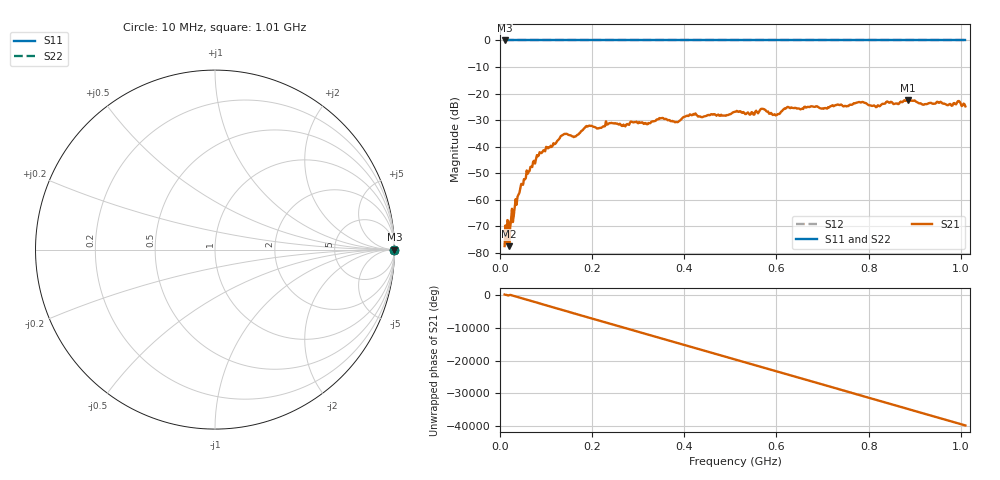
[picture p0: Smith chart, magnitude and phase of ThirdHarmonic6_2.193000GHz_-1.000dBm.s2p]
! 8/17/2025 2:08:52 AM
! C:\ANRITSUVNA\TEMP\TEMP.S2P
! CHANNEL.1
! TR.MEASUREMENT
! RAW.DATA
! RF.CORRECTION.OFF
! AVERAGING.OFF
! IF.BANDWIDTH: 5KHZ
! SWEEPTYPE:  FREQ.SWEEP(Linear)
! Reference Plane Port Info
! PORT:  PORT1  PORT2
! DISTANCE:  0  m  0  m
! TIME:  0  s  0  s
! PHASE.OFFSET:  0  deg.  0  deg.
! LOSS:  0  dB  0  dB
! REF.LOSS:  0  dB  0  dB
! REF.FREQ:  0  Hz  0  Hz
! Power Info
! POWER:  -20  dBm  -20  dBm
! EFF.POWER:  -20  dBm  -20  dBm
! SOURCE.ATTEN:  0  dB  0  dB
! TEST.ATTEN:  0  dB  0  dB
# GHZ S RI R 50.0
! FREQ.GHZ  S11RE  S11IM  S21RE  S21IM  S12RE  S12IM  S22RE  S22IM
!; PortSelection: Port_12
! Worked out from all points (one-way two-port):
!   501 points, 10 MHz to 1.01 GHz, reference 50 ohm
!   highest |S21| = -22.44 dB at 886 MHz (marker M1); lowest = -77.5 dB at 20 MHz (marker M2)
!   lowest |S11| = 0.0 dB at 10 MHz (marker M3)
!   |S11| at or under -10 dB: nowhere
!   |S22| runs from 0.0 to 0.0 dB; largest |S21 - S12| = 1.1
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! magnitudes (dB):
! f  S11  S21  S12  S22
! 10 MHz  0.0  -77.5  0.0  0.0
! 14 MHz  0.0  -76.3  0.0  0.0
! 20 MHz  0.0  -77.5  0.0  0.0
! 24 MHz  0.0  -67.4  0.0  0.0
! 30 MHz  0.0  -65.8  0.0  0.0
! 48 MHz  0.0  -54.2  0.0  0.0
! 84 MHz  0.0  -43.4  0.0  0.0
! 136 MHz  0.0  -35.6  0.0  0.0
! 162 MHz  0.0  -36.2  0.0  0.0
! 178 MHz  0.0  -34.0  0.0  0.0
! 344 MHz  0.0  -29.7  0.0  0.0
! 384 MHz  0.0  -30.8  0.0  0.0
! 416 MHz  0.0  -28.2  0.0  0.0
! 510 MHz  0.0  -26.9  0.0  0.0
! 548 MHz  0.0  -27.2  0.0  0.0
! 570 MHz  0.0  -25.7  0.0  0.0
! 596 MHz  0.0  -27.8  0.0  0.0
! 622 MHz  0.0  -25.3  0.0  0.0
! 678 MHz  0.0  -24.9  0.0  0.0
! 844 MHz  0.0  -23.4  0.0  0.0
! 886 MHz  0.0  -22.4  0.0  0.0
! 1.01 GHz  0.0  -24.9  0.0  0.0
